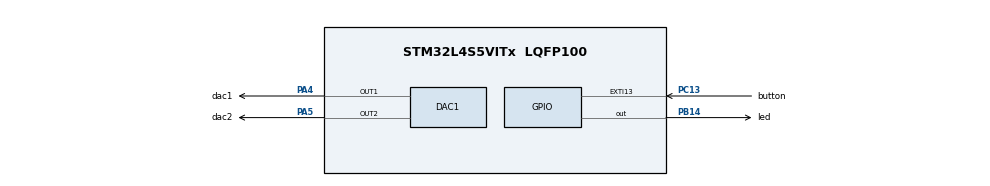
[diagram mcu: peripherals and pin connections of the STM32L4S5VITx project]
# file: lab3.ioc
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DAC1.DAC_Channel-DAC_OUT2=DAC_CHANNEL_2
DAC1.DAC_Trigger-DAC_OUT1=DAC_TRIGGER_T2_TRGO
Dma.DAC1_CH1.0.Direction=DMA_MEMORY_TO_PERIPH
Dma.DAC1_CH1.0.EventEnable=DISABLE
Dma.DAC1_CH1.0.Instance=DMA1_Channel3
Dma.DAC1_CH1.0.MemDataAlignment=DMA_MDATAALIGN_HALFWORD
Dma.DAC1_CH1.0.MemInc=DMA_MINC_ENABLE
Dma.DAC1_CH1.0.Mode=DMA_CIRCULAR
Dma.DAC1_CH1.0.PeriphDataAlignment=DMA_PDATAALIGN_HALFWORD
Dma.DAC1_CH1.0.PeriphInc=DMA_PINC_DISABLE
Dma.DAC1_CH1.0.Polarity=HAL_DMAMUX_REQUEST_GEN_RISING
Dma.DAC1_CH1.0.Priority=DMA_PRIORITY_LOW
Dma.DAC1_CH1.0.RequestNumber=1
Dma.DAC1_CH1.0.SignalID=NONE
Dma.DAC1_CH1.0.SyncEnable=DISABLE
Dma.DAC1_CH1.0.SyncPolarity=HAL_DMAMUX_SYNC_NO_EVENT
Dma.DAC1_CH1.0.SyncRequestNumber=1
Dma.DAC1_CH1.0.SyncSignalID=NONE
Dma.Request0=DAC1_CH1
Mcu.Family=STM32L4
Mcu.Name=STM32L4S5VITx
Mcu.Package=LQFP100
NVIC.DMA1_Channel3_IRQn=true\:0\:0\:false\:false\:true\:false\:true\:true
NVIC.EXTI15_10_IRQn=true\:0\:0\:false\:false\:true\:true\:true\:true
NVIC.PriorityGroup=NVIC_PRIORITYGROUP_4
NVIC.TIM2_IRQn=true\:0\:0\:false\:false\:true\:true\:true\:true
PA4.GPIO_Label=dac1
PA4.Signal=COMP_DAC11_group
PA5.GPIO_Label=dac2
PA5.Signal=COMP_DAC12_group
PB14.GPIO_Label=led
PB14.Signal=GPIO_Output
PC13.GPIO_Label=button
PC13.Signal=GPXTI13
ProjectManager.HeapSize=0x200
ProjectManager.StackSize=0x400
ProjectManager.TargetToolchain=STM32CubeIDE
RCC.HSE_VALUE=8000000
RCC.HSI48_VALUE=48000000
RCC.HSI_VALUE=16000000
RCC.LSE_VALUE=32768
RCC.MSI_VALUE=4000000
RCC.VCOOutputFreq_Value=32000000
SH.COMP_DAC11_group.0=DAC1_OUT1,DAC_OUT1
SH.COMP_DAC12_group.0=DAC1_OUT2,DAC_OUT2
TIM2.Period=499
TIM2.TIM_MasterOutputTrigger=TIM_TRGO_UPDATE
VP_TIM2_VS_ClockSourceINT.Mode=Internal
board=custom

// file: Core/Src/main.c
/* USER CODE BEGIN Header */
/**
  ******************************************************************************
  * @file           : main.c
  * @brief          : Main program body
  ******************************************************************************
  * @attention
  *
  * Copyright (c) 2026 STMicroelectronics.
  * All rights reserved.
  *
  * This software is licensed under terms that can be found in the LICENSE file
  * in the root directory of this software component.
  * If no LICENSE file comes with this software, it is provided AS-IS.
  *
  ******************************************************************************
  */
/* USER CODE END Header */
#include "main.h"

/* USER CODE BEGIN Includes */
#include "waveform.h"
#include "arm_math.h"

/* USER CODE END Includes */

/* USER CODE BEGIN PD */
#define SAMPLE_RATE_HZ  8000u  /* DAC samples per second */
#define WAVE_PERIOD     120u   /* samples per cycle -> tone = SAMPLE_RATE_HZ / WAVE_PERIOD */

/* Sine on DAC1: TIM2 triggers the DAC, DMA feeds it from sine_table (no CPU).
   Tone frequency = TIM2 rate / SINE_SAMPLES. The button cycles through TONES_HZ. */
#define SINE_SAMPLES    32u    /* samples stored for exactly one period (2*pi) */
#define NUM_TONES       3u
#define SINE_CENTER     2048.0f            /* middle of the 12-bit range */
#define SINE_AMPLITUDE  (WAVE_MAX / 3.0f)  /* +/-1365 -> swings over ~2/3 of the range */

/* USER CODE END PD */

DAC_HandleTypeDef hdac1;
DMA_HandleTypeDef hdma_dac1_ch1;

TIM_HandleTypeDef htim2;

/* USER CODE BEGIN PV */
/* Last values sent to the DAC. Global + volatile so the SWV Data Trace
   Timeline Graph can watch them (they need a fixed address in RAM). */
volatile uint16_t triangle_value;
volatile uint16_t sawtooth_value;

/* One full sine period, filled once at startup with arm_sin_f32().
   The DMA reads it in a loop and sends one value to DAC1 per TIM2 trigger. */
uint16_t sine_table[SINE_SAMPLES];

/* Arpeggio played by the button: C6, E6, G6. */
const float32_t TONES_HZ[NUM_TONES] = { 1046.50f, 1318.51f, 1567.98f };
uint32_t tone_reload[NUM_TONES];   /* TIM2 auto-reload value for each tone */
volatile uint32_t tone_index = 0;  /* current tone (traceable in SWV) */

/* USER CODE END PV */

void SystemClock_Config(void);
static void MX_GPIO_Init(void);
static void MX_DMA_Init(void);
static void MX_DAC1_Init(void);
static void MX_TIM2_Init(void);

int main(void)
{

  /* MCU Configuration--------------------------------------------------------*/

  /* Reset of all peripherals, Initializes the Flash interface and the Systick. */
  HAL_Init();

  /* Configure the system clock */
  SystemClock_Config();

  /* Initialize all configured peripherals */
  MX_GPIO_Init();
  MX_DMA_Init();
  MX_DAC1_Init();
  MX_TIM2_Init();
  /* USER CODE BEGIN 2 */
  HAL_DAC_Start(&hdac1, DAC_CHANNEL_2);  /* PA5: sawtooth (main loop) */

  /* Fill the table with one period: angles 0 .. 2*pi*(N-1)/N.
     The next sample after the last one is angle 2*pi = 0, so it loops without a jump. */
  for (uint32_t k = 0; k < SINE_SAMPLES; k++)
  {
    float32_t angle = 2.0f * PI * (float32_t)k / (float32_t)SINE_SAMPLES;
    sine_table[k] = (uint16_t)(SINE_CENTER + SINE_AMPLITUDE * arm_sin_f32(angle));
  }

  /* TIM2 counts at the CPU clock and must overflow (tone * SINE_SAMPLES) times per second. */
  for (uint32_t t = 0; t < NUM_TONES; t++)
  {
    float32_t ticks = (float32_t)SystemCoreClock / (TONES_HZ[t] * SINE_SAMPLES);
    tone_reload[t] = (uint32_t)(ticks + 0.5f) - 1u;
  }
  __HAL_TIM_SET_AUTORELOAD(&htim2, tone_reload[tone_index]);
  __HAL_TIM_SET_COUNTER(&htim2, 0);
  /* Auto-reload preload: a new tone takes effect at the end of the current timer
     period, so changing it from the button never glitches the counter. */
  SET_BIT(htim2.Instance->CR1, TIM_CR1_ARPE);

  /* PA4: DMA copies sine_table to DAC1 in a loop, one value per TIM2 trigger. */
  HAL_DAC_Start_DMA(&hdac1, DAC_CHANNEL_1, (uint32_t *)sine_table, SINE_SAMPLES, DAC_ALIGN_12B_R);
  /* No _IT: the timer only triggers the DAC; an interrupt per sample is not needed. */
  HAL_TIM_Base_Start(&htim2);

  /* Use the CPU cycle counter to space the samples evenly. */
  CoreDebug->DEMCR |= CoreDebug_DEMCR_TRCENA_Msk;
  DWT->CYCCNT = 0;
  DWT->CTRL |= DWT_CTRL_CYCCNTENA_Msk;
  const uint32_t cycles_per_sample = SystemCoreClock / SAMPLE_RATE_HZ;
  uint32_t next_sample = DWT->CYCCNT;
  uint32_t i = 0;

  /* USER CODE END 2 */

  /* Infinite loop */
  while (1)
  {

    /* USER CODE BEGIN 3 */
    triangle_value = triangle_wave(i, WAVE_PERIOD);
    sawtooth_value = sawtooth_wave(i, WAVE_PERIOD);
    /* DAC1 (sine) is fed by DMA, no CPU work needed here. */
    HAL_DAC_SetValue(&hdac1, DAC_CHANNEL_2, DAC_ALIGN_12B_R, sawtooth_value);
    i++;

    /* Wait until it's time for the next sample. */
    next_sample += cycles_per_sample;
    while ((int32_t)(DWT->CYCCNT - next_sample) < 0) { }
  }
  /* USER CODE END 3 */
}

void SystemClock_Config(void)
{
  RCC_OscInitTypeDef RCC_OscInitStruct = {0};
  RCC_ClkInitTypeDef RCC_ClkInitStruct = {0};

  /** Configure the main internal regulator output voltage
  */
  if (HAL_PWREx_ControlVoltageScaling(PWR_REGULATOR_VOLTAGE_SCALE1) != HAL_OK)
  {
    Error_Handler();
  }

  /** Initializes the RCC Oscillators according to the specified parameters
  * in the RCC_OscInitTypeDef structure.
  */
  RCC_OscInitStruct.OscillatorType = RCC_OSCILLATORTYPE_MSI;
  RCC_OscInitStruct.MSIState = RCC_MSI_ON;
  RCC_OscInitStruct.MSICalibrationValue = 0;
  RCC_OscInitStruct.MSIClockRange = RCC_MSIRANGE_6;
  RCC_OscInitStruct.PLL.PLLState = RCC_PLL_NONE;
  if (HAL_RCC_OscConfig(&RCC_OscInitStruct) != HAL_OK)
  {
    Error_Handler();
  }

  /** Initializes the CPU, AHB and APB buses clocks
  */
  RCC_ClkInitStruct.ClockType = RCC_CLOCKTYPE_HCLK|RCC_CLOCKTYPE_SYSCLK
                              |RCC_CLOCKTYPE_PCLK1|RCC_CLOCKTYPE_PCLK2;
  RCC_ClkInitStruct.SYSCLKSource = RCC_SYSCLKSOURCE_MSI;
  RCC_ClkInitStruct.AHBCLKDivider = RCC_SYSCLK_DIV1;
  RCC_ClkInitStruct.APB1CLKDivider = RCC_HCLK_DIV1;
  RCC_ClkInitStruct.APB2CLKDivider = RCC_HCLK_DIV1;

  if (HAL_RCC_ClockConfig(&RCC_ClkInitStruct, FLASH_LATENCY_0) != HAL_OK)
  {
    Error_Handler();
  }
}

static void MX_DAC1_Init(void)
{

  DAC_ChannelConfTypeDef sConfig = {0};

  /** DAC Initialization
  */
  hdac1.Instance = DAC1;
  if (HAL_DAC_Init(&hdac1) != HAL_OK)
  {
    Error_Handler();
  }

  /** DAC channel OUT1 config
  */
  sConfig.DAC_SampleAndHold = DAC_SAMPLEANDHOLD_DISABLE;
  sConfig.DAC_Trigger = DAC_TRIGGER_T2_TRGO;
  sConfig.DAC_HighFrequency = DAC_HIGH_FREQUENCY_INTERFACE_MODE_DISABLE;
  sConfig.DAC_OutputBuffer = DAC_OUTPUTBUFFER_ENABLE;
  sConfig.DAC_ConnectOnChipPeripheral = DAC_CHIPCONNECT_DISABLE;
  sConfig.DAC_UserTrimming = DAC_TRIMMING_FACTORY;
  if (HAL_DAC_ConfigChannel(&hdac1, &sConfig, DAC_CHANNEL_1) != HAL_OK)
  {
    Error_Handler();
  }

  /** DAC channel OUT2 config
  */
  sConfig.DAC_Trigger = DAC_TRIGGER_NONE;
  if (HAL_DAC_ConfigChannel(&hdac1, &sConfig, DAC_CHANNEL_2) != HAL_OK)
  {
    Error_Handler();
  }

}

static void MX_TIM2_Init(void)
{

  TIM_ClockConfigTypeDef sClockSourceConfig = {0};
  TIM_MasterConfigTypeDef sMasterConfig = {0};

  htim2.Instance = TIM2;
  htim2.Init.Prescaler = 0;
  htim2.Init.CounterMode = TIM_COUNTERMODE_UP;
  htim2.Init.Period = 499;
  htim2.Init.ClockDivision = TIM_CLOCKDIVISION_DIV1;
  htim2.Init.AutoReloadPreload = TIM_AUTORELOAD_PRELOAD_DISABLE;
  if (HAL_TIM_Base_Init(&htim2) != HAL_OK)
  {
    Error_Handler();
  }
  sClockSourceConfig.ClockSource = TIM_CLOCKSOURCE_INTERNAL;
  if (HAL_TIM_ConfigClockSource(&htim2, &sClockSourceConfig) != HAL_OK)
  {
    Error_Handler();
  }
  sMasterConfig.MasterOutputTrigger = TIM_TRGO_UPDATE;
  sMasterConfig.MasterSlaveMode = TIM_MASTERSLAVEMODE_DISABLE;
  if (HAL_TIMEx_MasterConfigSynchronization(&htim2, &sMasterConfig) != HAL_OK)
  {
    Error_Handler();
  }

}

static void MX_DMA_Init(void)
{

  /* DMA controller clock enable */
  __HAL_RCC_DMAMUX1_CLK_ENABLE();
  __HAL_RCC_DMA1_CLK_ENABLE();

  /* DMA interrupt init */
  /* DMA1_Channel3_IRQn interrupt configuration */
  HAL_NVIC_SetPriority(DMA1_Channel3_IRQn, 0, 0);
  HAL_NVIC_EnableIRQ(DMA1_Channel3_IRQn);

}

static void MX_GPIO_Init(void)
{
  GPIO_InitTypeDef GPIO_InitStruct = {0};

  /* GPIO Ports Clock Enable */
  __HAL_RCC_GPIOC_CLK_ENABLE();
  __HAL_RCC_GPIOA_CLK_ENABLE();
  __HAL_RCC_GPIOB_CLK_ENABLE();

  /*Configure GPIO pin Output Level */
  HAL_GPIO_WritePin(led_GPIO_Port, led_Pin, GPIO_PIN_RESET);

  /*Configure GPIO pin : button_Pin */
  GPIO_InitStruct.Pin = button_Pin;
  GPIO_InitStruct.Mode = GPIO_MODE_IT_RISING;
  GPIO_InitStruct.Pull = GPIO_NOPULL;
  HAL_GPIO_Init(button_GPIO_Port, &GPIO_InitStruct);

  /*Configure GPIO pin : led_Pin */
  GPIO_InitStruct.Pin = led_Pin;
  GPIO_InitStruct.Mode = GPIO_MODE_OUTPUT_PP;
  GPIO_InitStruct.Pull = GPIO_NOPULL;
  GPIO_InitStruct.Speed = GPIO_SPEED_FREQ_LOW;
  HAL_GPIO_Init(led_GPIO_Port, &GPIO_InitStruct);

  /* EXTI interrupt init*/
  HAL_NVIC_SetPriority(EXTI15_10_IRQn, 0, 0);
  HAL_NVIC_EnableIRQ(EXTI15_10_IRQn);

}

/* USER CODE BEGIN 4 */
// /**
//   * @brief  Period elapsed callback (overrides the weak HAL version).
//   *         Called by HAL_TIM_IRQHandler() every time TIM2 overflows.
//   * @param  htim Timer that triggered the interrupt.
//   * @retval None
//   */
// void HAL_TIM_PeriodElapsedCallback(TIM_HandleTypeDef *htim)
// {
//   if (htim->Instance == TIM2)
//   {
//     sine_value = sine_table[sine_index];
//     HAL_DAC_SetValue(&hdac1, DAC_CHANNEL_1, DAC_ALIGN_12B_R, sine_value);

//     sine_index++;
//     if (sine_index >= SINE_SAMPLES)
//     {
//       sine_index = 0;
//     }
//   }
// }

/**
  * @brief  EXTI line detection callback (overrides the weak HAL version).
  *         Called by HAL_GPIO_EXTI_IRQHandler() when the button is pressed.
  * @param  GPIO_Pin Pin that triggered the interrupt.
  * @retval None
  */
void HAL_GPIO_EXTI_Callback(uint16_t GPIO_Pin)
{
  static uint32_t last_press_ms = 0;

  if (GPIO_Pin == button_Pin)
  {
    /* Ignore contact bounce: one action per click. */
    uint32_t now = HAL_GetTick();
    if (now - last_press_ms >= 200u)
    {
      last_press_ms = now;
      HAL_GPIO_TogglePin(led_GPIO_Port, led_Pin);

      /* Next note of the arpeggio: only the timer rate changes,
         the DMA keeps playing the same sine table. */
      tone_index = (tone_index + 1u) % NUM_TONES;
      __HAL_TIM_SET_AUTORELOAD(&htim2, tone_reload[tone_index]);
    }
  }
}

/* USER CODE END 4 */

void Error_Handler(void)
{
  __disable_irq();
  while (1)
  {
  }
}
